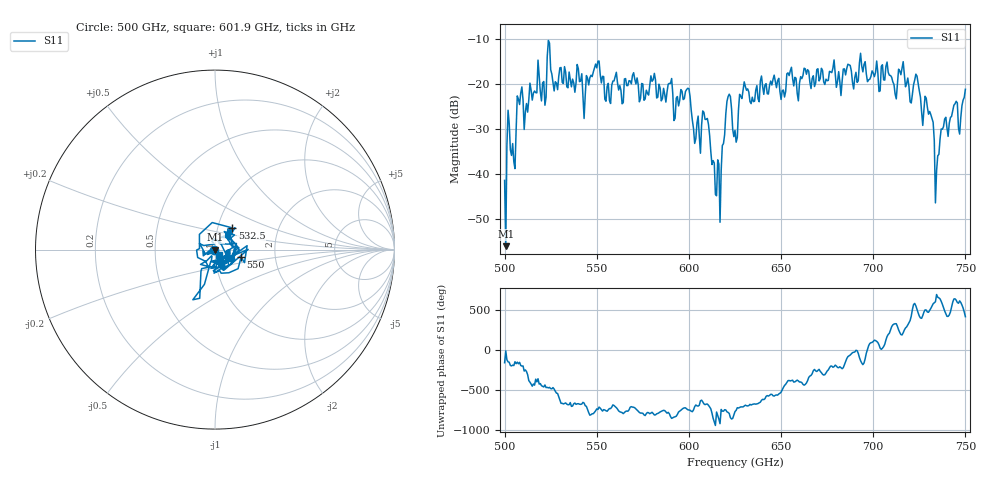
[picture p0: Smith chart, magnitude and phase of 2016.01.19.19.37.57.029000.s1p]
!Created with skrf (http://scikit-rf.org).
# GHz S RI R 50.0
!freq ReS11 ImS11
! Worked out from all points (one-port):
!   401 points, 500 GHz to 750 GHz, reference 50 ohm
!   lowest |S11| = -56.1 dB at 500.6 GHz (marker M1), VSWR 1.00, Z = 50.2 - j0.0312 ohm
!   |S11| at or under -10 dB: start of sweep to end of sweep
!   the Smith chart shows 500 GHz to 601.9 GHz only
!   S11 on the Smith chart (normalised r, x): 500 GHz: 0.98, -0.01; 532.5 GHz: 1.17, +0.30; 550 GHz: 1.33, -0.12; 601.9 GHz: 1.05, -0.06
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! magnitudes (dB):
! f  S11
! 500 GHz  -41.5
! 500.6 GHz  -56.1
! 502.5 GHz  -28.8
! 505 GHz  -37.3
! 508.1 GHz  -24.6
! 521.2 GHz  -19.4
! 524.4 GHz  -10.9
! 527.5 GHz  -19.5
! 531.2 GHz  -19.6
! 532.5 GHz  -16.1
! 543.8 GHz  -22.4
! 550 GHz  -16.4
! 562.5 GHz  -20.4
! 593.8 GHz  -22.8
! 599.4 GHz  -20.9
! 601.9 GHz  -28.1
! 609.4 GHz  -27.9
! 615.6 GHz  -36.9
! 621.2 GHz  -22.8
! 625 GHz  -30.3
! 630.6 GHz  -20.5
! 656.2 GHz  -18.8
! 687.5 GHz  -15.9
! 718.8 GHz  -18.7
! 729.4 GHz  -25.2
! 734.4 GHz  -39.3
! 738.1 GHz  -29.5
! 750 GHz  -21.2
